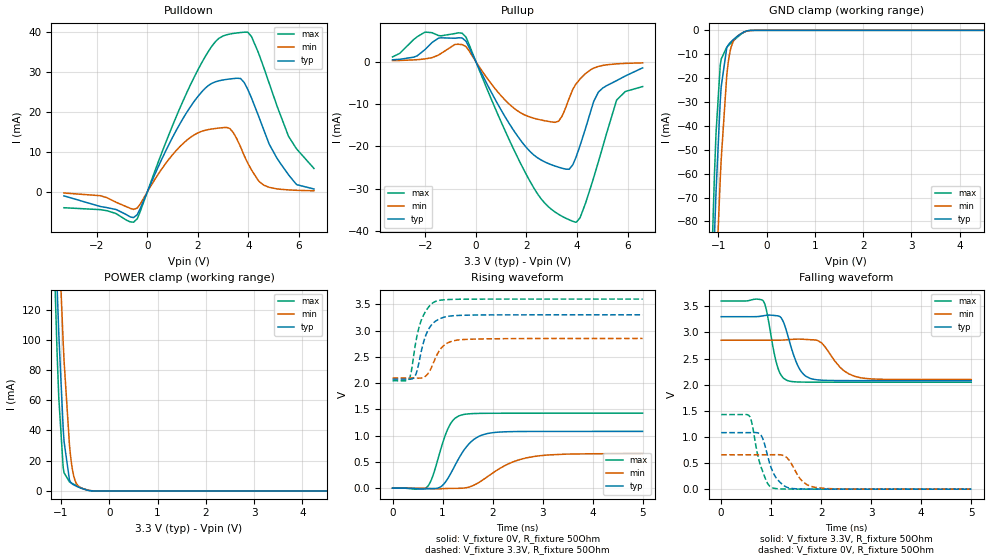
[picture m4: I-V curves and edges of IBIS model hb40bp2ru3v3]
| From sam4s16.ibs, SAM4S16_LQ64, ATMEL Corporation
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[Model] hb40bp2ru3v3
| config_pins "NO PIN CONFIG TO SEARCH"
Model_type   I/O
Polarity   Non-Inverting
Enable   Active-Low
Vinl = 0.8
Vinh = 2.0
Vmeas = 1.65
Vref = 1.65
Cref = 15pF
Rref = 50
|   typ   min   max
C_comp   2.760e-12   2.618e-12   2.911e-12
|C_comp (ON state)   2.617e-12   2.377e-12   2.880e-12
|C_comp (OFF state)   2.902e-12   2.860e-12   2.942e-12
[Voltage Range]   3.3   2.85   3.6
[Temperature Range]   25   125   -40
[Pullup Reference]   3.3   2.85   3.6
[Pulldown Reference]   0   0   0
[Power Clamp Reference]   3.3   2.85   3.6
[GND Clamp Reference]   0   0   0
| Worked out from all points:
|   slope of the pulldown table from 0 to 0.495 V, typ, clamps not added: 69.3 ohm
|   slope of the pullup table from 0 to 0.495 V, typ, clamps not added: 83.7 ohm
|   GND clamp passes 1 mA (typ) near -0.50 V on its own axis
|   POWER clamp passes 1 mA (typ) near -0.51 V on its own axis
|   falling waveform, V_fixture 3.3V, R_fixture 50Ohm: 20-80 % time 258ps typ, 388ps min, 189ps max; typ from 3.3 V to 2.08 V
|   rising waveform, V_fixture 0V, R_fixture 50Ohm: 20-80 % time 423ps typ, 720ps min, 288ps max; typ from 0 V to 1.08 V
|   rising waveform, V_fixture 3.3V, R_fixture 50Ohm: 20-80 % time 228ps typ, 256ps min, 219ps max; typ from 2.08 V to 3.3 V
|   falling waveform, V_fixture 0V, R_fixture 50Ohm: 20-80 % time 233ps typ, 270ps min, 212ps max; typ from 1.08 V to 0.001 V
[Pulldown]
|   Voltage   I(typ)   I(min)   I(max)
-3.3V     -987.6uA   -269.1uA   -3.962mA
-399.3mV  -5.701mA   -4.049mA   -6.735mA
868.8mV   12.07mA    8.312mA    14.6mA
1.859V    22.73mA    14.31mA    28.81mA
2.705V    27.63mA    15.92mA    37.74mA
3.412V    28.43mA    14.78mA    39.75mA
3.691V    28.44mA    11.29mA    39.97mA
3.976V    25.71mA    7.243mA    40.04mA
4.6V      15.7mA     1.737mA    31.35mA
5.589V    4.294mA    506.4uA    13.94mA
5.93V     1.79mA     403.1uA    10.63mA
6.597V    734.7uA    287.5uA    5.879mA
[GND Clamp]
|   Voltage   I(typ)   I(min)   I(max)
-3.3V     -1.96A     -1.813A    -2.078A
-1.162V   -137.7mA   -171.7mA   -113.7mA
-1.079V   -85.52mA   -122.5mA   -59.98mA
-1.046V   -67.19mA   -104.3mA   -42.63mA
-960mV    -29.67mA   -62.35mA   -14.72mA
-940.5mV  -23.74mA   -54.18mA   -12.05mA
-825mV    -7.297mA   -18.91mA   -7.084mA
-766.3mV  -5.406mA   -9.917mA   -5.896mA
-695.1mV  -4mA       -4.841mA   -4.513mA
-468.6mV  -691.5uA   -755.4uA   -803.5uA
-261.6mV  -5.929uA   -15.8uA    -4.467uA
6.597V    0A         0A         0A
[Pullup]
|   Voltage   I(typ)   I(min)   I(max)
-3.3V     450.1uA    250.3uA    1.125mA
-2.015V   2.861mA    649.6uA    6.984mA
-1.482V   5.551mA    1.554mA    6.168mA
-542.4mV  5.577mA    4.023mA    6.701mA
1.153V    -12.99mA   -9.045mA   -16.28mA
2.138V    -21.17mA   -13.06mA   -28.2mA
3.269V    -24.89mA   -14.06mA   -36mA
3.691V    -25.38mA   -8.627mA   -37.3mA
3.95V     -22.68mA   -5.35mA    -37.87mA
4.848V    -7.161mA   -1.116mA   -23.58mA
5.567V    -4.47mA    -509uA     -9.06mA
6.597V    -1.454mA   -276.3uA   -5.866mA
[POWER Clamp]
|   Voltage   I(typ)   I(min)   I(max)
-3.3V     3.084A     2.792A     3.329A
-1.165V   218.4mA    275.2mA    178.3mA
-1.082V   135.5mA    198.4mA    91.64mA
-1.046V   103.4mA    167.2mA    61.04mA
-956.4mV  41.66mA    98.53mA    15.8mA
-937.2mV  32.47mA    85.83mA    11.98mA
-825mV    7.11mA     30.11mA    5.932mA
-794.4mV  5.485mA    20.89mA    5.378mA
-717.9mV  3.675mA    7.667mA    4.093mA
-610.8mV  2.143mA    2.431mA    2.43mA
-261.6mV  2.9uA      12.48uA    1.51uA
6.597V    0A         0A         0A
[Ramp]
R_load = 50
|   typ   min   max
dV/dt_r   0.648329/4.23262e-10   0.394293/7.17843e-10   0.85616/2.88458e-10
dV/dt_f   0.734372/2.58098e-10   0.451491/3.873e-10   0.932701/1.88973e-10
[Falling Waveform]
V_fixture = 3.3V
V_fixture_min = 2.85V
V_fixture_max = 3.6V
R_fixture = 50Ohm
C_fixture = 0F
|   Time   V(typ)   V(min)   V(max)
0s        3.3V       2.85V      3.6V
850ps     3.319V     2.85V      3.59V
1.125ns   3.317V     2.85V      2.348V
1.325ns   2.965V     2.859V     2.078V
1.55ns    2.329V     2.871V     2.051V
1.8ns     2.113V     2.859V     2.047V
2ns       2.086V     2.805V     2.047V
2.375ns   2.078V     2.335V     2.046V
2.675ns   2.077V     2.157V     2.046V
5ns       2.076V     2.098V     2.046V
[Rising Waveform]
V_fixture = 0V
V_fixture_min = 0V
V_fixture_max = 0V
R_fixture = 50Ohm
C_fixture = 0F
|   Time   V(typ)   V(min)   V(max)
0s        0V         0V         0V
700ps     -10.77mV   -5.334mV   30.51mV
800ps     -7.417mV   -9.739mV   218.1mV
950ps     18.54mV    -11.25mV   693.4mV
1.1ns     175.6mV    -5.779mV   1.116V
1.375ns   647.2mV    -1.611mV   1.392V
1.6ns     908.7mV    45.19mV    1.419V
1.8ns     1.015V     153.3mV    1.424V
2.675ns   1.079V     576.2mV    1.426V
5ns       1.081V     657.2mV    1.427V
[Rising Waveform]
V_fixture = 3.3V
V_fixture_min = 2.85V
V_fixture_max = 3.6V
R_fixture = 50Ohm
C_fixture = 0F
|   Time   V(typ)   V(min)   V(max)
0s        2.075V     2.097V     2.044V
325ps     2.074V     2.097V     2.07V
375ps     2.076V     2.097V     2.219V
450ps     2.132V     2.096V     2.695V
575ps     2.606V     2.097V     3.197V
700ps     2.986V     2.169V     3.42V
875ps     3.188V     2.512V     3.56V
1.05ns    3.259V     2.733V     3.587V
1.35ns    3.289V     2.825V     3.596V
5ns       3.299V     2.849V     3.599V
[Falling Waveform]
|Gnd
V_fixture = 0V
V_fixture_min = 0V
V_fixture_max = 0V
R_fixture = 50Ohm
C_fixture = 0F
|   Time   V(typ)   V(min)   V(max)
0s        1.082V     658.1mV    1.428V
575ps     1.082V     658mV      1.385V
725ps     1.08V      658mV      680mV
800ps     1.027V     658mV      417.1mV
925ps     652.6mV    658.2mV    114.8mV
1.05ns    297.1mV    659.5mV    19.44mV
1.325ns   32.86mV    592.1mV    3.026mV
1.6ns     4.204mV    175.8mV    1.96mV
1.85ns    1.909mV    40.97mV    1.616mV
5ns       661.1uV    504.9uV    765.2uV
